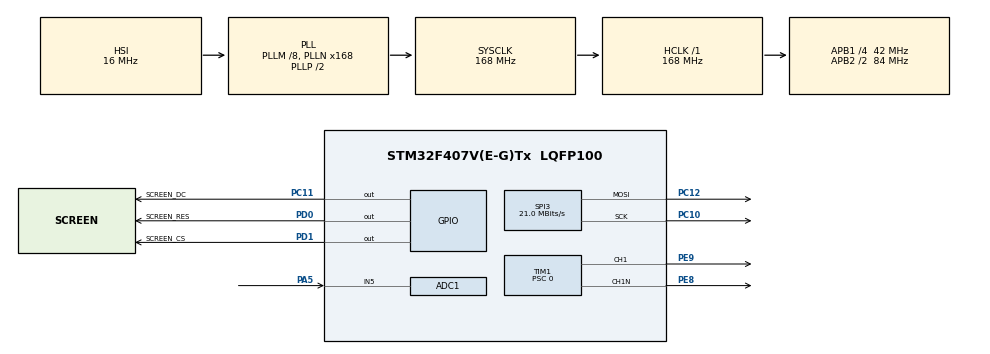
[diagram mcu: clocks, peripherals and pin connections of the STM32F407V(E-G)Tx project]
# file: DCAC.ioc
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ADC1.Channel-1\#ChannelRegularConversion=ADC_CHANNEL_5
ADC1.ContinuousConvMode=DISABLE
ADC1.DMAContinuousRequests=DISABLE
ADC1.DiscontinuousConvMode=DISABLE
ADC1.ExternalTrigConv=ADC_SOFTWARE_START
ADC1.NbrOfConversion=1
ADC1.NbrOfConversionFlag=1
ADC1.Rank-1\#ChannelRegularConversion=1
ADC1.SamplingTime-1\#ChannelRegularConversion=ADC_SAMPLETIME_84CYCLES
ADC1.ScanConvMode=DISABLE
ADC1.master=1
Mcu.Family=STM32F4
Mcu.Name=STM32F407V(E-G)Tx
Mcu.Package=LQFP100
NVIC.PriorityGroup=NVIC_PRIORITYGROUP_4
NVIC.TIM2_IRQn=true\:0\:0\:false\:false\:true\:true\:true\:true
PA13.Mode=Serial_Wire
PA13.Signal=SYS_JTMS-SWDIO
PA14.Mode=Serial_Wire
PA14.Signal=SYS_JTCK-SWCLK
PA5.Signal=ADCx_IN5
PC10.Mode=TX_Only_Simplex_Unidirect_Master
PC10.Signal=SPI3_SCK
PC11.GPIO_Label=SCREEN_DC
PC11.GPIO_Speed=GPIO_SPEED_FREQ_HIGH
PC11.PinState=GPIO_PIN_SET
PC11.Signal=GPIO_Output
PC12.Mode=TX_Only_Simplex_Unidirect_Master
PC12.Signal=SPI3_MOSI
PC14-OSC32_IN.Mode=LSE-External-Oscillator
PC14-OSC32_IN.Signal=RCC_OSC32_IN
PC15-OSC32_OUT.Mode=LSE-External-Oscillator
PC15-OSC32_OUT.Signal=RCC_OSC32_OUT
PD0.GPIO_Label=SCREEN_RES
PD0.GPIO_Speed=GPIO_SPEED_FREQ_HIGH
PD0.PinState=GPIO_PIN_SET
PD0.Signal=GPIO_Output
PD1.GPIO_Label=SCREEN_CS
PD1.GPIO_Speed=GPIO_SPEED_FREQ_HIGH
PD1.PinState=GPIO_PIN_SET
PD1.Signal=GPIO_Output
PE8.Mode=PWM Generation1 CH1 CH1N
PE8.Signal=TIM1_CH1N
PE9.Signal=S_TIM1_CH1
PH0-OSC_IN.Mode=HSE-External-Oscillator
PH0-OSC_IN.Signal=RCC_OSC_IN
PH1-OSC_OUT.Mode=HSE-External-Oscillator
PH1-OSC_OUT.Signal=RCC_OSC_OUT
ProjectManager.HeapSize=0x200
ProjectManager.StackSize=0x400
ProjectManager.TargetToolchain=CMake
RCC.48MHZClocksFreq_Value=84000000
RCC.AHBFreq_Value=168000000
RCC.APB1CLKDivider=RCC_HCLK_DIV4
RCC.APB1Freq_Value=42000000
RCC.APB1TimFreq_Value=84000000
RCC.APB2CLKDivider=RCC_HCLK_DIV2
RCC.APB2Freq_Value=84000000
RCC.APB2TimFreq_Value=168000000
RCC.CortexFreq_Value=168000000
RCC.HCLKFreq_Value=168000000
RCC.HSE_VALUE=25000000
RCC.HSI_VALUE=16000000
RCC.PLLM=8
RCC.PLLN=168
RCC.SYSCLKFreq_VALUE=168000000
RCC.SYSCLKSource=RCC_SYSCLKSOURCE_PLLCLK
RCC.VCOOutputFreq_Value=336000000
SH.ADCx_IN5.0=ADC1_IN5,IN5
SH.S_TIM1_CH1.0=TIM1_CH1,PWM Generation1 CH1 CH1N
SPI3.BaudRatePrescaler=SPI_BAUDRATEPRESCALER_2
SPI3.CalculateBaudRate=21.0 MBits/s
SPI3.Direction=SPI_DIRECTION_2LINES
SPI3.Mode=SPI_MODE_MASTER
SPI3.VirtualType=VM_MASTER
TIM1.Channel-PWM\ Generation1\ CH1\ CH1N=TIM_CHANNEL_1
TIM1.DeadTime=15
TIM1.Period=8400 - 1
TIM1.Prescaler=0
TIM2.Period=8400 - 1
TIM2.Prescaler=0
VP_TIM1_VS_ClockSourceINT.Mode=Internal
VP_TIM2_VS_ClockSourceINT.Mode=Internal
board=custom

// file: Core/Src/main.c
/* USER CODE BEGIN Header */
/**
  ******************************************************************************
  * @file           : main.c
  * @brief          : Main program body
  ******************************************************************************
  * @attention
  *
  * Copyright (c) 2026 STMicroelectronics.
  * All rights reserved.
  *
  * This software is licensed under terms that can be found in the LICENSE file
  * in the root directory of this software component.
  * If no LICENSE file comes with this software, it is provided AS-IS.
  *
  ******************************************************************************
  */
/* USER CODE END Header */
#include "main.h"
#include "adc.h"
#include "spi.h"
#include "tim.h"
#include "gpio.h"

/* USER CODE BEGIN Includes */
#include <math.h>
#include "oled.h"
#include "pll.h"
/* USER CODE END Includes */

/* USER CODE BEGIN PD */
#define PI 3.1415926f

#define PWM_TIMER_ARR 8400U                             // Timer auto-reload value
#define AMP_TO_PERCENT 0.2f                             // PWM amplitude ratio
#define HALF_PERIOD_PARTS 200U                          // Half-cycle table points

#define ADC_OFFSET_ALPHA 0.0002f                        // ADC offset filter coefficient
#define UO_RMS_ALPHA 0.001f                             // RMS display filter coefficient
#define ADC_MAX_COUNTS 4095.0f                          // ADC full-scale count
#define ADC_OFFSET_INIT_COUNTS (ADC_MAX_COUNTS * 0.5f)  // Initial ADC offset count
#define ADC_VREF 3.3f                                   // ADC reference voltage
#define ADC_READ_TIMEOUT 1000U
#define ADC_VPP_WINDOW_SAMPLES 1000U
#define UO_SENSOR_GAIN 30.0f                            // Input voltage gain

#define OLED_REFRESH_MS 200U                            // OLED refresh interval
/* USER CODE END PD */

/* USER CODE BEGIN PV */
static uint32_t duty = PWM_TIMER_ARR / 2U; //初始占空比为50%

static float sin_1[HALF_PERIOD_PARTS] = {0};

static PLL_t uo_pll;

volatile float UO = 0.0f;                               //输入电压有效值
volatile float UO_PLL_THETA = 0.0f;                     //输入电压锁相环角度
volatile float UO_PLL_FREQ = PLL_NOMINAL_FREQ_HZ;       //输入电压锁相环频率
volatile float UO_ADC_COUNTS = ADC_OFFSET_INIT_COUNTS;  //输入电压ADC采样值
volatile float UO_ADC_VPP = 0.0f;
/* USER CODE END PV */

void SystemClock_Config(void);
/* USER CODE BEGIN PFP */
static void SinglePhase(void);
static HAL_StatusTypeDef ADC_ReadSelectedChannel(uint32_t *adc_counts);
/* USER CODE END PFP */

int main(void)
{

  /* MCU Configuration--------------------------------------------------------*/

  /* Reset of all peripherals, Initializes the Flash interface and the Systick. */
  HAL_Init();

  /* Configure the system clock */
  SystemClock_Config();

  /* Initialize all configured peripherals */
  MX_GPIO_Init();
  MX_TIM1_Init();
  MX_TIM2_Init();
  MX_ADC1_Init();
  MX_SPI3_Init();
  /* USER CODE BEGIN 2 */
  SinglePhase(); // Generate sine wave values
  PLL_Init(&uo_pll);

  __HAL_TIM_SET_COMPARE(&htim1, TIM_CHANNEL_1, duty);
  HAL_TIM_PWM_Start(&htim1, TIM_CHANNEL_1); // Start PWM on TIM1 Channel 1
  HAL_TIMEx_PWMN_Start(&htim1, TIM_CHANNEL_1); // Start complementary PWM on TIM1 Channel 1

  if (HAL_TIM_Base_Start_IT(&htim2) != HAL_OK) // Start fixed-rate PLL/ADC sampling tick
  {
    Error_Handler();
  }

  HAL_Delay(100); // Wait for 100ms before initializing OLED
  OLED_Init(); // Initialize OLED
  /* USER CODE END 2 */

  /* Infinite loop */
  while (1)
  {

    /* USER CODE BEGIN 3 */
    static uint32_t last_oled_refresh = 0U;

    if ((HAL_GetTick() - last_oled_refresh) >= OLED_REFRESH_MS)
    {
      last_oled_refresh = HAL_GetTick();

      OLED_NewFrame();
      OLED_PrintASCIIString(0, 0, "U0:", &afont16x8, OLED_COLOR_NORMAL);
      OLED_PrintFloat(48, 0, UO, 3U, &afont16x8, OLED_COLOR_NORMAL);
      OLED_PrintASCIIString(0, 16, "F:", &afont16x8, OLED_COLOR_NORMAL);
      OLED_PrintFloat(48, 16, UO_PLL_FREQ, 2U, &afont16x8, OLED_COLOR_NORMAL);
      OLED_PrintASCIIString(0, 32, "VPP:", &afont16x8, OLED_COLOR_NORMAL);
      OLED_PrintFloat(48, 32, UO_ADC_VPP, 3U, &afont16x8, OLED_COLOR_NORMAL);
      OLED_PrintASCIIString(0, 48, "ADC:", &afont16x8, OLED_COLOR_NORMAL);
      OLED_PrintFloat(48, 48, UO_ADC_COUNTS, 0U, &afont16x8, OLED_COLOR_NORMAL);
      // OLED_DrawImage(32, 0, &xiaomiImg, OLED_COLOR_NORMAL);
      OLED_ShowFrame();
    }
  }
  /* USER CODE END 3 */
}

void SystemClock_Config(void)
{
  RCC_OscInitTypeDef RCC_OscInitStruct = {0};
  RCC_ClkInitTypeDef RCC_ClkInitStruct = {0};

  /** Configure the main internal regulator output voltage
  */
  __HAL_RCC_PWR_CLK_ENABLE();
  __HAL_PWR_VOLTAGESCALING_CONFIG(PWR_REGULATOR_VOLTAGE_SCALE1);

  /** Initializes the RCC Oscillators according to the specified parameters
  * in the RCC_OscInitTypeDef structure.
  */
  RCC_OscInitStruct.OscillatorType = RCC_OSCILLATORTYPE_HSI;
  RCC_OscInitStruct.HSIState = RCC_HSI_ON;
  RCC_OscInitStruct.HSICalibrationValue = RCC_HSICALIBRATION_DEFAULT;
  RCC_OscInitStruct.PLL.PLLState = RCC_PLL_ON;
  RCC_OscInitStruct.PLL.PLLSource = RCC_PLLSOURCE_HSI;
  RCC_OscInitStruct.PLL.PLLM = 8;
  RCC_OscInitStruct.PLL.PLLN = 168;
  RCC_OscInitStruct.PLL.PLLP = RCC_PLLP_DIV2;
  RCC_OscInitStruct.PLL.PLLQ = 4;
  if (HAL_RCC_OscConfig(&RCC_OscInitStruct) != HAL_OK)
  {
    Error_Handler();
  }

  /** Initializes the CPU, AHB and APB buses clocks
  */
  RCC_ClkInitStruct.ClockType = RCC_CLOCKTYPE_HCLK|RCC_CLOCKTYPE_SYSCLK
                              |RCC_CLOCKTYPE_PCLK1|RCC_CLOCKTYPE_PCLK2;
  RCC_ClkInitStruct.SYSCLKSource = RCC_SYSCLKSOURCE_PLLCLK;
  RCC_ClkInitStruct.AHBCLKDivider = RCC_SYSCLK_DIV1;
  RCC_ClkInitStruct.APB1CLKDivider = RCC_HCLK_DIV4;
  RCC_ClkInitStruct.APB2CLKDivider = RCC_HCLK_DIV2;

  if (HAL_RCC_ClockConfig(&RCC_ClkInitStruct, FLASH_LATENCY_5) != HAL_OK)
  {
    Error_Handler();
  }
}

/* USER CODE BEGIN 4 */
void HAL_TIM_PeriodElapsedCallback(TIM_HandleTypeDef *htim)
{
  if (htim->Instance == TIM2) // Check if the interrupt is from TIM2
  {
    static uint16_t index = 0;
    static float uo_offset_counts = ADC_OFFSET_INIT_COUNTS;
    static float uo_rms_filtered = 0.0f;
    static uint16_t vpp_sample_count = 0U;
    static float adc_min_counts = ADC_MAX_COUNTS;
    static float adc_max_counts = 0.0f;
    uint32_t adc_counts = 0U;

    if (ADC_ReadSelectedChannel(&adc_counts) != HAL_OK)
    {
      return;
    }

    float uo_sample_counts = (float)adc_counts;

    UO_ADC_COUNTS = uo_sample_counts;
    if (uo_sample_counts < adc_min_counts)
    {
      adc_min_counts = uo_sample_counts;
    }
    if (uo_sample_counts > adc_max_counts)
    {
      adc_max_counts = uo_sample_counts;
    }
    if (++vpp_sample_count >= ADC_VPP_WINDOW_SAMPLES)
    {
      UO_ADC_VPP = (adc_max_counts - adc_min_counts) * ADC_VREF / ADC_MAX_COUNTS;
      adc_min_counts = ADC_MAX_COUNTS;
      adc_max_counts = 0.0f;
      vpp_sample_count = 0U;
    }

    uo_offset_counts += ADC_OFFSET_ALPHA * (uo_sample_counts - uo_offset_counts);

    float uo_sample_ac = (uo_sample_counts - uo_offset_counts) * ADC_VREF / ADC_MAX_COUNTS;
    // SOGI_Update(&uo_pll, uo_sample_ac);
    PLL_Update(&uo_pll, uo_sample_ac);

    float uo_rms = PLL_GetRms(&uo_pll) * UO_SENSOR_GAIN; //PA5
    uo_rms_filtered += UO_RMS_ALPHA * (uo_rms - uo_rms_filtered);
    UO = uo_rms_filtered;
    UO_PLL_THETA = uo_pll.wt;
    UO_PLL_FREQ = uo_pll.frequency_hz;

    float sine_value = sin_1[index++];
    float duty_ratio = 0.5f + (sine_value - 0.5f) * AMP_TO_PERCENT;

    duty = (uint32_t)(duty_ratio * (float)PWM_TIMER_ARR); // Keep frequency unchanged, only adjust duty swing

    if (index >= HALF_PERIOD_PARTS)
    {
      index = 0;
    }

    __HAL_TIM_SET_COMPARE(&htim1, TIM_CHANNEL_1, duty); // Update PWM duty cycle
  }
}

static HAL_StatusTypeDef ADC_ReadSelectedChannel(uint32_t *adc_counts)
{
  uint32_t adc_timeout = ADC_READ_TIMEOUT;

  if (HAL_ADC_Start(&hadc1) != HAL_OK)
  {
    return HAL_ERROR;
  }

  while ((__HAL_ADC_GET_FLAG(&hadc1, ADC_FLAG_EOC) == RESET) && (adc_timeout > 0U))
  {
    adc_timeout--;
  }

  if (adc_timeout == 0U)
  {
    (void)HAL_ADC_Stop(&hadc1);
    return HAL_TIMEOUT;
  }

  *adc_counts = HAL_ADC_GetValue(&hadc1);

  return HAL_ADC_Stop(&hadc1);
}

static void SinglePhase(void)
{
  for(uint16_t i = 0; i < HALF_PERIOD_PARTS; i++ )
  {
    float value = sinf(PI * i / (HALF_PERIOD_PARTS - 1U));
    sin_1[i] = (value > 0.0f) ? value : 0.0f;
  }
}

/* USER CODE END 4 */

void Error_Handler(void)
{
  __disable_irq();
  while (1)
  {
  }
}
